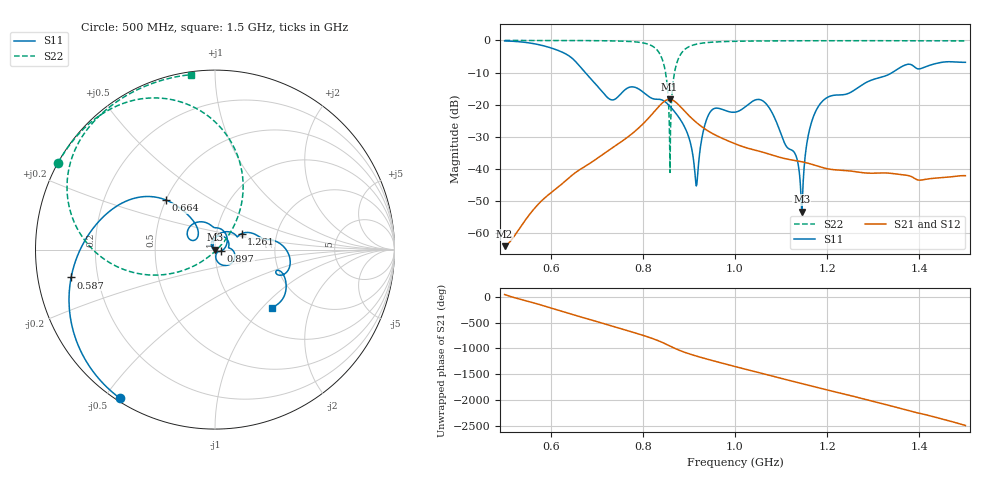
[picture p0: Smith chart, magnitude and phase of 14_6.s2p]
! TOUCHSTONE file generated by CST MICROWAVE STUDIO
! Date and time: Fri Oct  2 18:56:26 2020
! Project name: Scenario_1_Free_Space_out_of_line.cst
! Parameters = {Lambda=346.42; Step_1=17.321; dy1=122.207; dx1=1039; L_HA=400; MT=2.54; Rad_Dielectric=30; Rad_Lower=7.3; Rad_Upper=30; a_HA=580; a_WG=246; b_HA=500; b_WG=121; c_HA=0; c_WG=187; d_feed=85; h_feed=15; h_lower=18; h_upper=40}
! Header version: 2018
! Port assignment regex: !\s*Touchstone port\s*([0-9]+)\s*=\s*(CST MWS port|CST DS port)\s*([0-9]+|Zmin|Zmax)\s*\(\"(.*)\"\)(\s*mode\s*([0-9]+))?.*
! Touchstone port assignment:
! Touchstone port 1 = CST MWS port 1 ("")
! Touchstone port 2 = CST MWS port 2 ("")
# GHz S DB R 50
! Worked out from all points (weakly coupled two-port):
!   1003 points, 500 MHz to 1.5 GHz, reference 50 ohm
!   highest |S21| = -18.32 dB at 858 MHz (marker M1); lowest = -64.0 dB at 500 MHz (marker M2)
!   lowest |S11| = -53.2 dB at 1.145 GHz (marker M3), VSWR 1.00, Z = 49.8 - j0.117 ohm
!   |S11| at or under -10 dB: 674.9 MHz to 1.341 GHz (666.3 MHz wide, 66.1 % of centre)
!   |S22| runs from -41.1 to 0.0 dB; largest |S21 - S12| = 6.8e-05
!   S11 on the Smith chart (normalised r, x): 500 MHz: 0.01, -0.55; 587 MHz: 0.10, -0.09; 664 MHz: 0.50, +0.33; 897 MHz: 1.07, -0.02; 1.261 GHz: 1.32, +0.24; 1.5 GHz: 1.38, -1.14
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0.5  -0.15 -122.5  -64.01 44.8  -64.01 44.8  -0.01 151.1
0.587  -1.76 -169.1  -49.02 -179.6  -48.97 -179.8  -0.02 145.1
0.664  -8.19 134.7  -40.12 -26.0  -40.15 -26.1  -0.04 138.6
0.667  -8.70 133.4  -39.85 -34.0  -39.88 -34.0  -0.04 138.3
0.73  -18.40 142.7  -33.77 161.5  -33.77 161.6  -0.13 130.7
0.777  -14.44 135.7  -28.96 37.2  -28.96 37.2  -0.37 121.2
0.834  -18.31 83.1  -20.68 -132.4  -20.68 -132.4  -3.53 86.1
0.848  -19.04 61.9  -18.80 172.7  -18.80 172.7  -9.02 63.9
0.858  -20.37 46.1  -18.32 129.5  -18.32 129.5  -30.48 31.6
0.873  -22.93 24.5  -19.41 66.8  -19.41 66.8  -7.37 -161.3
0.897  -29.02 -12.5  -22.95 -14.7  -22.95 -14.7  -2.18 171.2
0.916  -45.27 -119.1  -25.51 -67.9  -25.51 -67.9  -1.17 160.1
0.945  -22.52 80.3  -28.47 -141.0  -28.48 -141.1  -0.59 150.3
1  -22.32 7.7  -32.15 88.7  -32.13 88.5  -0.26 140.3
1.068  -19.78 -59.5  -35.10 -67.7  -35.12 -67.7  -0.15 132.7
1.131  -35.42 -49.6  -37.39 150.4  -37.39 150.4  -0.11 127.1
1.145  -53.24 -147.3  -37.75 118.4  -37.75 118.3  -0.10 125.9
1.167  -25.03 93.9  -38.55 67.5  -38.55 67.5  -0.10 124.2
1.196  -18.13 53.4  -39.79 4.1  -39.79 4.1  -0.09 122.0
1.261  -15.25 31.1  -40.82 -138.5  -40.82 -138.5  -0.09 117.0
1.334  -10.57 11.2  -41.29 55.9  -41.29 55.9  -0.09 111.5
1.5  -6.81 -45.8  -42.08 25.9  -42.08 25.9  -0.14 97.9
